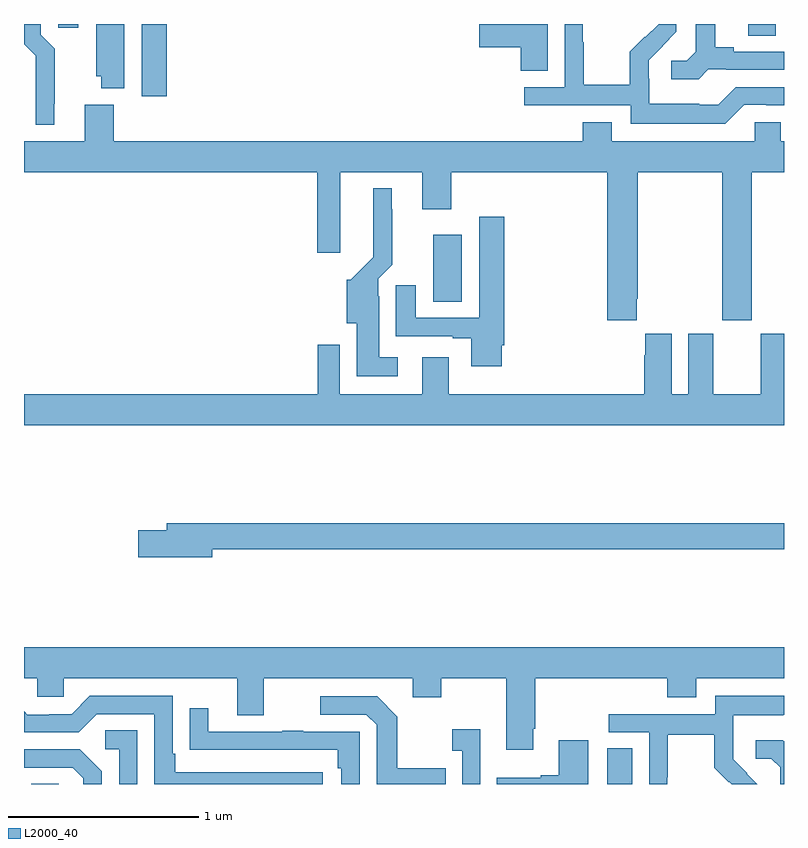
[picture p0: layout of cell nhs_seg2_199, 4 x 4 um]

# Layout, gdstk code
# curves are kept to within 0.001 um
import gdstk
lib = gdstk.Library(unit=1e-6, precision=1e-09)
def R(c, l, rs):  # rectangles x0, y0, x1, y1
    for r in rs: c.add(gdstk.rectangle(r[:2], r[2:], *l))
def P(c, l, *ps):  # polygons
    for p in ps: c.add(gdstk.Polygon(p, *l))
L2000_40 = (2000, 40)

nhs_seg2_199 = lib.new_cell('nhs_seg2_199')
R(nhs_seg2_199, L2000_40, [(121.037,593.8,121.182,593.801), (124.07,593.8,124.201,593.987), (123.155,596.338,123.304,596.692), (121.619,597.42,121.751,597.8), (124.811,597.739,124.956,597.8), (121.181,597.78,121.285,597.8)])
P(nhs_seg2_199, L2000_40, [(124.602,597.561),(124.696,597.561),(124.696,597.558),(125,597.558),(125,597.654),(124.735,597.654),(124.735,597.677),(124.639,597.677),(124.639,597.8),(124.535,597.8),(124.535,597.653),(124.488,597.606),(124.407,597.606),(124.407,597.509),(124.55,597.509)],
  [(124.791,597.375),(124.907,597.375),(124.907,597.372),(125,597.372),(125,597.468),(124.746,597.468),(124.653,597.375),(124.553,597.375),(124.553,597.379),(124.29,597.379),(124.29,597.513),(124.288,597.513),(124.288,597.61),(124.434,597.758),(124.434,597.8),(124.34,597.8),(124.269,597.729),(124.266,597.732),(124.189,597.655),(124.189,597.481),(123.945,597.481),(123.945,597.704),(123.942,597.704),(123.942,597.8),(123.846,597.8),(123.846,597.468),(123.633,597.468),(123.633,597.372),(124.194,597.372),(124.194,597.275),(124.691,597.275)],
  [(121.159,597.379),(121.163,597.379),(121.163,597.67),(121.089,597.744),(121.089,597.8),(121,597.8),(121,597.694),(121.062,597.632),(121.062,597.53),(121.061,597.53),(121.061,597.269),(121.159,597.269)],
  [(123.757,597.8),(123.396,597.8),(123.396,597.677),(123.614,597.677),(123.614,597.553),(123.757,597.553)],
  [(121.528,597.8),(121.379,597.8),(121.379,597.525),(121.406,597.525),(121.406,597.461),(121.528,597.461)],
  [(124.225,596.353),(124.23,596.353),(124.23,597.02),(124.675,597.02),(124.675,596.241),(124.83,596.241),(124.83,597.02),(125,597.02),(125,597.184),(124.983,597.184),(124.983,597.282),(124.845,597.282),(124.845,597.184),(124.093,597.184),(124.093,597.283),(123.941,597.283),(123.941,597.184),(121.472,597.184),(121.472,597.376),(121.319,597.376),(121.319,597.184),(121,597.184),(121,597.02),(122.543,597.02),(122.543,596.595),(122.665,596.595),(122.665,597.02),(123.095,597.02),(123.095,596.826),(123.248,596.826),(123.248,597.02),(124.07,597.02),(124.07,596.241),(124.225,596.241)],
  [(122.968,596.047),(122.869,596.047),(122.869,596.366),(122.865,596.366),(122.865,596.46),(122.939,596.534),(122.939,596.825),(122.935,596.825),(122.935,596.935),(122.837,596.935),(122.838,596.572),(122.72,596.454),(122.699,596.454),(122.699,596.226),(122.75,596.226),(122.75,595.946),(122.968,595.946)],
  [(123.514,596.11),(123.527,596.11),(123.527,596.785),(123.395,596.785),(123.395,596.253),(123.061,596.253),(123.061,596.425),(122.957,596.425),(122.957,596.157),(123.257,596.157),(123.257,596.145),(123.353,596.145),(123.353,595.998),(123.514,595.998)],
  [(125,596.17),(124.877,596.17),(124.877,595.852),(124.627,595.852),(124.627,596.17),(124.496,596.17),(124.496,595.852),(124.408,595.852),(124.408,596.17),(124.271,596.17),(124.271,596.057),(124.265,596.057),(124.265,595.852),(123.235,595.852),(123.235,596.047),(123.095,596.047),(123.095,595.852),(122.661,595.852),(122.661,596.113),(122.545,596.113),(122.545,595.852),(121,595.852),(121,595.688),(125,595.688)],
  [(121.99,595.036),(125,595.036),(125,595.172),(121.751,595.172),(121.751,595.136),(121.602,595.136),(121.602,594.994),(121.99,594.994)],
  [(123.679,594.091),(123.692,594.091),(123.692,594.356),(124.385,594.356),(124.385,594.257),(124.537,594.257),(124.537,594.356),(125,594.356),(125,594.52),(121,594.52),(121,594.356),(121.071,594.356),(121.071,594.258),(121.209,594.258),(121.209,594.356),(122.123,594.356),(122.123,594.162),(122.263,594.162),(122.263,594.356),(123.047,594.356),(123.047,594.257),(123.195,594.257),(123.195,594.356),(123.539,594.356),(123.539,593.979),(123.679,593.979)],
  [(124.386,593.836),(124.389,593.836),(124.389,594.06),(124.633,594.06),(124.633,593.885),(124.71,593.808),(124.713,593.811),(124.724,593.8),(124.86,593.8),(124.732,593.93),(124.732,594.027),(124.734,594.027),(124.734,594.161),(124.997,594.161),(124.997,594.165),(125,594.165),(125,594.265),(124.638,594.265),(124.638,594.168),(124.077,594.168),(124.077,594.072),(124.29,594.072),(124.29,593.8),(124.386,593.8)],
  [(122.572,593.862),(121.795,593.862),(121.795,593.959),(121.782,593.959),(121.782,594.264),(121.347,594.264),(121.251,594.168),(121.133,594.168),(121.133,594.165),(121.017,594.165),(121,594.182),(121,594.072),(121.287,594.072),(121.383,594.168),(121.686,594.168),(121.686,593.8),(122.572,593.8)],
  [(123.221,593.883),(122.965,593.883),(122.965,594.155),(122.859,594.261),(122.559,594.261),(122.559,594.165),(122.802,594.165),(122.856,594.111),(122.856,593.8),(123.221,593.8)],
  [(122.766,594.075),(122.471,594.075),(122.471,594.08),(122.359,594.08),(122.359,594.075),(121.969,594.075),(121.969,594.199),(121.873,594.199),(121.873,593.98),(121.975,593.98),(121.975,593.979),(122.65,593.979),(122.65,593.882),(122.67,593.882),(122.67,593.8),(122.766,593.8)],
  [(123.402,594.088),(123.255,594.088),(123.255,593.975),(123.306,593.975),(123.306,593.8),(123.402,593.8)],
  [(121.596,594.083),(121.428,594.083),(121.428,593.982),(121.5,593.982),(121.5,593.8),(121.596,593.8)],
  [(125,594.025),(124.994,594.031),(124.851,594.031),(124.851,593.934),(124.932,593.934),(124.979,593.887),(124.979,593.8),(125,593.8)],
  [(123.97,594.031),(123.815,594.031),(123.815,593.846),(123.719,593.846),(123.719,593.833),(123.489,593.833),(123.489,593.8),(123.97,593.8)],
  [(121.41,593.866),(121.294,593.982),(121,593.982),(121,593.886),(121.256,593.886),(121.313,593.829),(121.313,593.8),(121.41,593.8)])

lib.write_gds('nhs_seg2_199.gds')
